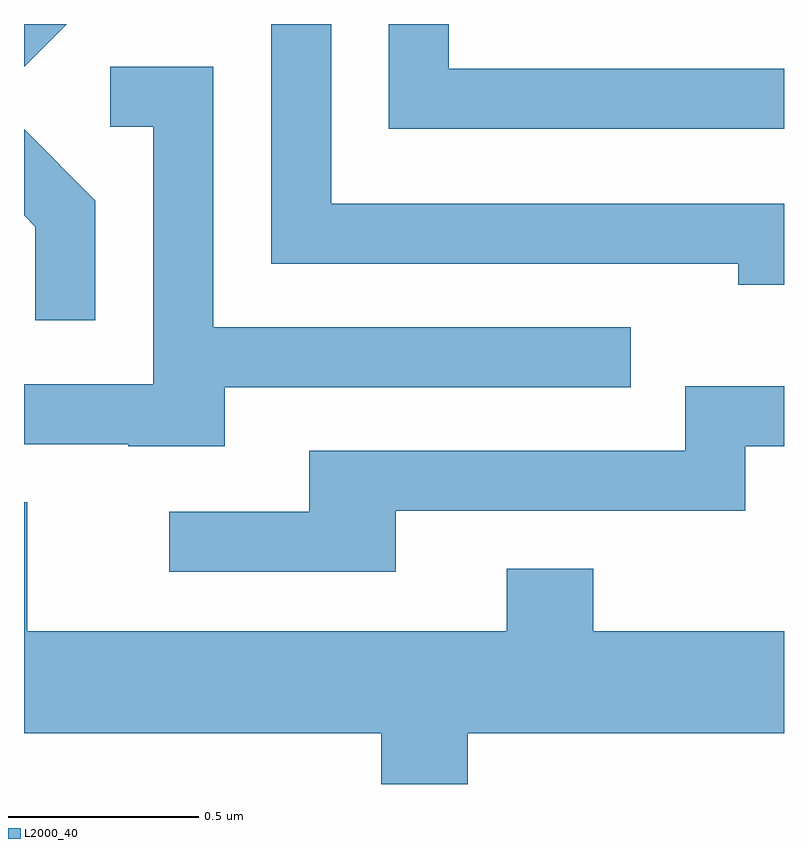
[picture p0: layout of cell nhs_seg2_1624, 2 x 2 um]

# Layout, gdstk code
import gdstk
lib = gdstk.Library(unit=1e-6, precision=1e-09)
def P(c, l, *ps):  # polygons
    for p in ps: c.add(gdstk.Polygon(p, *l))
L2000_40 = (2000, 40)

nhs_seg2_1624 = lib.new_cell('nhs_seg2_1624')
P(nhs_seg2_1624, L2000_40, [(196.723,1096.802),(196.611,1096.802),(196.611,1096.69)],
  [(198.611,1096.329),(197.419,1096.329),(197.419,1096.802),(197.261,1096.802),(197.261,1096.171),(198.491,1096.171),(198.491,1096.116),(198.611,1096.116)],
  [(198.611,1096.684),(197.729,1096.684),(197.729,1096.802),(197.571,1096.802),(197.571,1096.526),(198.611,1096.526)],
  [(197.139,1095.846),(198.208,1095.846),(198.208,1096.004),(197.109,1096.004),(197.109,1096.689),(196.838,1096.689),(196.838,1096.531),(196.951,1096.531),(196.951,1095.854),(196.611,1095.854),(196.611,1095.696),(196.885,1095.696),(196.885,1095.691),(197.139,1095.691)],
  [(196.799,1096.337),(196.611,1096.525),(196.611,1096.299),(196.641,1096.269),(196.641,1096.023),(196.799,1096.023)],
  [(197.589,1095.521),(198.509,1095.521),(198.509,1095.691),(198.611,1095.691),(198.611,1095.849),(198.351,1095.849),(198.351,1095.679),(197.361,1095.679),(197.361,1095.519),(196.993,1095.519),(196.993,1095.361),(197.589,1095.361)],
  [(197.779,1094.936),(198.611,1094.936),(198.611,1095.204),(198.109,1095.204),(198.109,1095.369),(197.881,1095.369),(197.881,1095.204),(196.619,1095.204),(196.619,1095.544),(196.611,1095.544),(196.611,1094.936),(197.551,1094.936),(197.551,1094.802),(197.779,1094.802)])

lib.write_gds('nhs_seg2_1624.gds')
